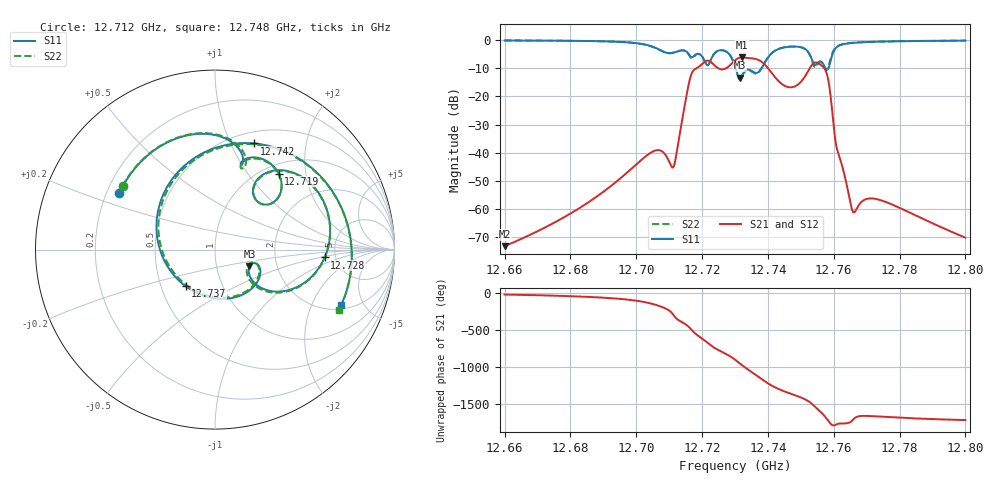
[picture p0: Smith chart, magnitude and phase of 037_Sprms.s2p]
! TOUCHSTONE file generated by CST MICROWAVE STUDIO
! Date and time: Wed Jul 31 12:31:57 2024
! Project name: WaveGuide_BPF-Ver4.1_U-shape_Ku_T3_C4_CWA_2.cst
! Parameters = {cavity_h=16; cavity_l0=10; cavity_l1=15.1845; cavity_l2=16.8523; cavity_l3=17.0874; cavity_l4=17.2289; cavity_l5=17.1282; cavity_l6=17.5655; cavity_r=2.5; cavity_screw_l=0.5; cavity_screw_r=1.5; cavity_w=8; iris_h00=0; iris_h01=8.8054; iris_h112=0; iris_h12=5.5916; iris_h211=3.6618; 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
! Header version: 2018
! Port assignment regex: !\s*Touchstone port\s*([0-9]+)\s*=\s*(CST MWS port|CST DS port)\s*([0-9]+|Zmin|Zmax)\s*\(\"(.*)\"\)(\s*mode\s*([0-9]+))?.*
! Touchstone port assignment:
! Touchstone port 1 = CST MWS port 1 ("")
! Touchstone port 2 = CST MWS port 2 ("")
# GHz S RI R 50
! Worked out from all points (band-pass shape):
!   5001 points, 12.66 GHz to 12.8 GHz, reference 50 ohm
!   highest |S21| = -6.18 dB at 12.732 GHz (marker M1); lowest = -73.1 dB at 12.66 GHz (marker M2)
!   |S21| within 3 dB of the highest: 12.71933 GHz to 12.72396 GHz (4.636 MHz wide, 0.0364 % of centre); 12.72825 GHz to 12.73944 GHz (11.2 MHz wide, 0.0879 % of centre) (the widest 2 of 3)
!   lowest |S11| = -13.4 dB at 12.731 GHz (marker M3), VSWR 1.54, Z = 72.1 - j14.2 ohm
!   |S11| at or under -10 dB: 12.73019 GHz to 12.73807 GHz (7.878 MHz wide, 0.0619 % of centre); 12.75747 GHz to 12.75839 GHz (913.5 kHz wide, 0.00716 % of centre)
!   |S22| runs from -13.8 to -0.1 dB; largest |S21 - S12| = 1e-09
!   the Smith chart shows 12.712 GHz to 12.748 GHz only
!   S11 on the Smith chart (normalised r, x): 12.712 GHz: 0.25, +0.26; 12.719 GHz: 1.17, +1.42; 12.728 GHz: 4.08, -0.57; 12.737 GHz: 0.67, -0.29; 12.742 GHz: 0.63, +1.23; 12.748 GHz: 2.26, -3.37
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12.66  0.2274 0.9571  0.000212 -6.65e-05  0.000212 -6.65e-05  0.2314 0.9561
12.68335  0.6082 0.7497  0.00078 -0.000785  0.00078 -0.000785  0.6137 0.7449
12.70007  0.8804 -0.0173  -0.0012 -0.00617  -0.0012 -0.00617  0.8772 -0.0377
12.70668  0.2096 -0.6594  -0.0109 -0.00237  -0.0109 -0.00237  0.167 -0.6644
12.71219  -0.5324 0.3151  0.00894 0.003  0.00894 0.003  -0.5151 0.3542
12.71634  0.1571 0.4997  -0.0789 -0.1918  -0.0789 -0.1918  0.1716 0.4777
12.71944  0.3548 0.4237  -0.2023 0.2882  -0.2023 0.2882  0.3536 0.4219
12.72275  0.2374 0.3924  0.3963 0.0827  0.3963 0.0827  0.2405 0.3906
12.72756  0.6109 -0.044  -0.0956 -0.3086  -0.0956 -0.3086  0.6073 -0.054
12.73  0.2661 -0.2173  -0.4369 -0.0162  -0.4369 -0.0162  0.2533 -0.2203
12.7314  0.1922 -0.0941  -0.3311 0.3552  -0.3311 0.3552  0.1823 -0.0905
12.73216  0.2277 -0.0766  -0.1413 0.47  -0.1413 0.47  0.2206 -0.0727
12.73666  -0.1644 -0.2036  0.3675 -0.2674  0.3675 -0.2674  -0.1803 -0.1806
12.7419  0.2181 0.5915  -0.2284 0.0248  -0.2284 0.0248  0.2602 0.5811
12.74826  0.7038 -0.3063  0.0738 0.1322  0.0738 0.1322  0.6891 -0.3391
12.75335  0.0363 -0.4552  0.2087 -0.2937  0.2087 -0.2937  0.00745 -0.435
12.75593  0.1128 -0.4047  -0.3461 -0.1243  -0.3461 -0.1243  0.1184 -0.3921
12.75792  0.1184 -0.2742  -0.0474 0.2443  -0.0474 0.2443  0.1439 -0.264
12.76083  0.3278 -0.6646  0.0115 0.00598  0.0115 0.00598  0.3061 -0.6909
12.76578  -0.2296 -0.862  4.67e-05 0.000912  4.67e-05 0.000912  -0.2478 -0.8589
12.77668  -0.796 -0.5102  -0.000751 0.00105  -0.000751 0.00105  -0.8024 -0.5011
12.8  -0.9673 0.1337  2.57e-05 0.000313  2.57e-05 0.000313  -0.9666 0.1398
